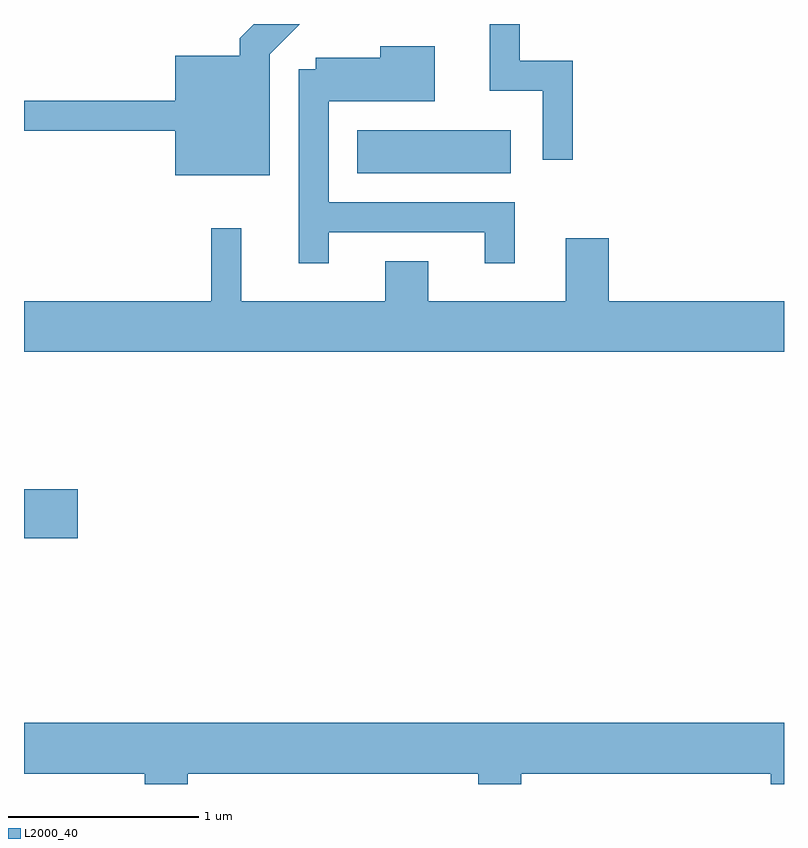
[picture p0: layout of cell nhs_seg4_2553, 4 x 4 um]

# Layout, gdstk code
import gdstk
lib = gdstk.Library(unit=1e-6, precision=1e-09)
def R(c, l, rs):  # rectangles x0, y0, x1, y1
    for r in rs: c.add(gdstk.rectangle(r[:2], r[2:], *l))
def P(c, l, *ps):  # polygons
    for p in ps: c.add(gdstk.Polygon(p, *l))
L2000_40 = (2000, 40)

nhs_seg4_2553 = lib.new_cell('nhs_seg4_2553')
R(nhs_seg4_2553, L2000_40, [(259.611,1329.276,259.894,1329.534), (261.366,1331.196,262.174,1331.424)])
P(nhs_seg4_2553, L2000_40, [(260.904,1331.824),(261.063,1331.982),(260.821,1331.982),(260.746,1331.907),(260.746,1331.814),(260.406,1331.814),(260.406,1331.579),(259.611,1331.579),(259.611,1331.421),(260.406,1331.421),(260.406,1331.186),(260.904,1331.186)],
  [(262.499,1331.789),(262.219,1331.789),(262.219,1331.982),(262.061,1331.982),(262.061,1331.631),(262.341,1331.631),(262.341,1331.268),(262.499,1331.268)],
  [(261.214,1330.886),(262.036,1330.886),(262.036,1330.723),(262.194,1330.723),(262.194,1331.044),(261.214,1331.044),(261.214,1331.576),(261.774,1331.576),(261.774,1331.864),(261.486,1331.864),(261.486,1331.804),(261.146,1331.804),(261.146,1331.744),(261.056,1331.744),(261.056,1330.723),(261.214,1330.723)],
  [(263.611,1330.524),(262.689,1330.524),(262.689,1330.854),(262.461,1330.854),(262.461,1330.524),(261.739,1330.524),(261.739,1330.734),(261.511,1330.734),(261.511,1330.524),(260.754,1330.524),(260.754,1330.908),(260.596,1330.908),(260.596,1330.524),(259.611,1330.524),(259.611,1330.256),(263.611,1330.256)],
  [(260.474,1328.036),(262.001,1328.036),(262.001,1327.982),(262.229,1327.982),(262.229,1328.036),(263.541,1328.036),(263.541,1327.982),(263.611,1327.982),(263.611,1328.304),(259.611,1328.304),(259.611,1328.036),(260.246,1328.036),(260.246,1327.982),(260.474,1327.982)])

lib.write_gds('nhs_seg4_2553.gds')
